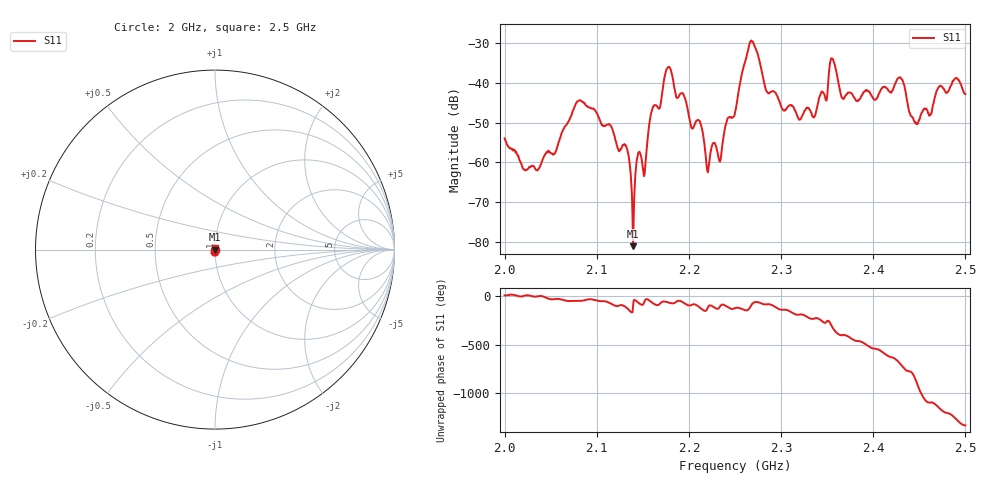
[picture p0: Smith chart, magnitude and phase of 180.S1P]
! C:\Users\rflab\Downloads\dp2_kdzw\180.S1P
! Touchstone 1.1 file saved by VNA.EXE V1.65 (www.ke5fx.com/gpib/readme.htm)
! 12/12/2024 7:00:14 PM
!  Source: HEWLETT PACKARD,8753D,0,6.14
!  Min freq: 2.000000E+009 Hz
!  Max freq: 2.500000E+009 Hz
!  Points: 801
!  Params: S21
# GHZ S MA R 50
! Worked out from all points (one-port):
!   801 points, 2 GHz to 2.5 GHz, reference 50 ohm
!   lowest |S11| = -81.1 dB at 2.139 GHz (marker M1), VSWR 1.00, Z = 50 - j0.00862 ohm
!   |S11| at or under -10 dB: start of sweep to end of sweep
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2  0.002012 10.3
2.035625  0.000791 -0.5
2.0625  0.002403 -36.4
2.083125  0.00595 -45.4
2.125  0.001448 -93.5
2.133125  0.001441 -124.9
2.139375  8.8e-05 -101.5
2.145  0.00132 -65.3
2.151875  0.000709 -50.3
2.159375  0.004318 -59.2
2.175625  0.01481 -57.1
2.1875  0.006494 -50.0
2.211875  0.003296 -116.5
2.220625  0.00075 -114.3
2.23375  0.001022 -106.2
2.25  0.004213 -122.5
2.268125  0.03368 -85.9
2.285  0.007674 -81.7
2.3125  0.005096 -171.9
2.33625  0.003784 131.7
2.355625  0.0204 41.0
2.36625  0.006489 -43.1
2.375  0.007568 -70.3
2.42875  0.01182 27.7
2.4375  0.005286 -53.6
2.4475  0.003063 177.1
2.471875  0.009087 -78.7
2.5  0.00727 102.9
